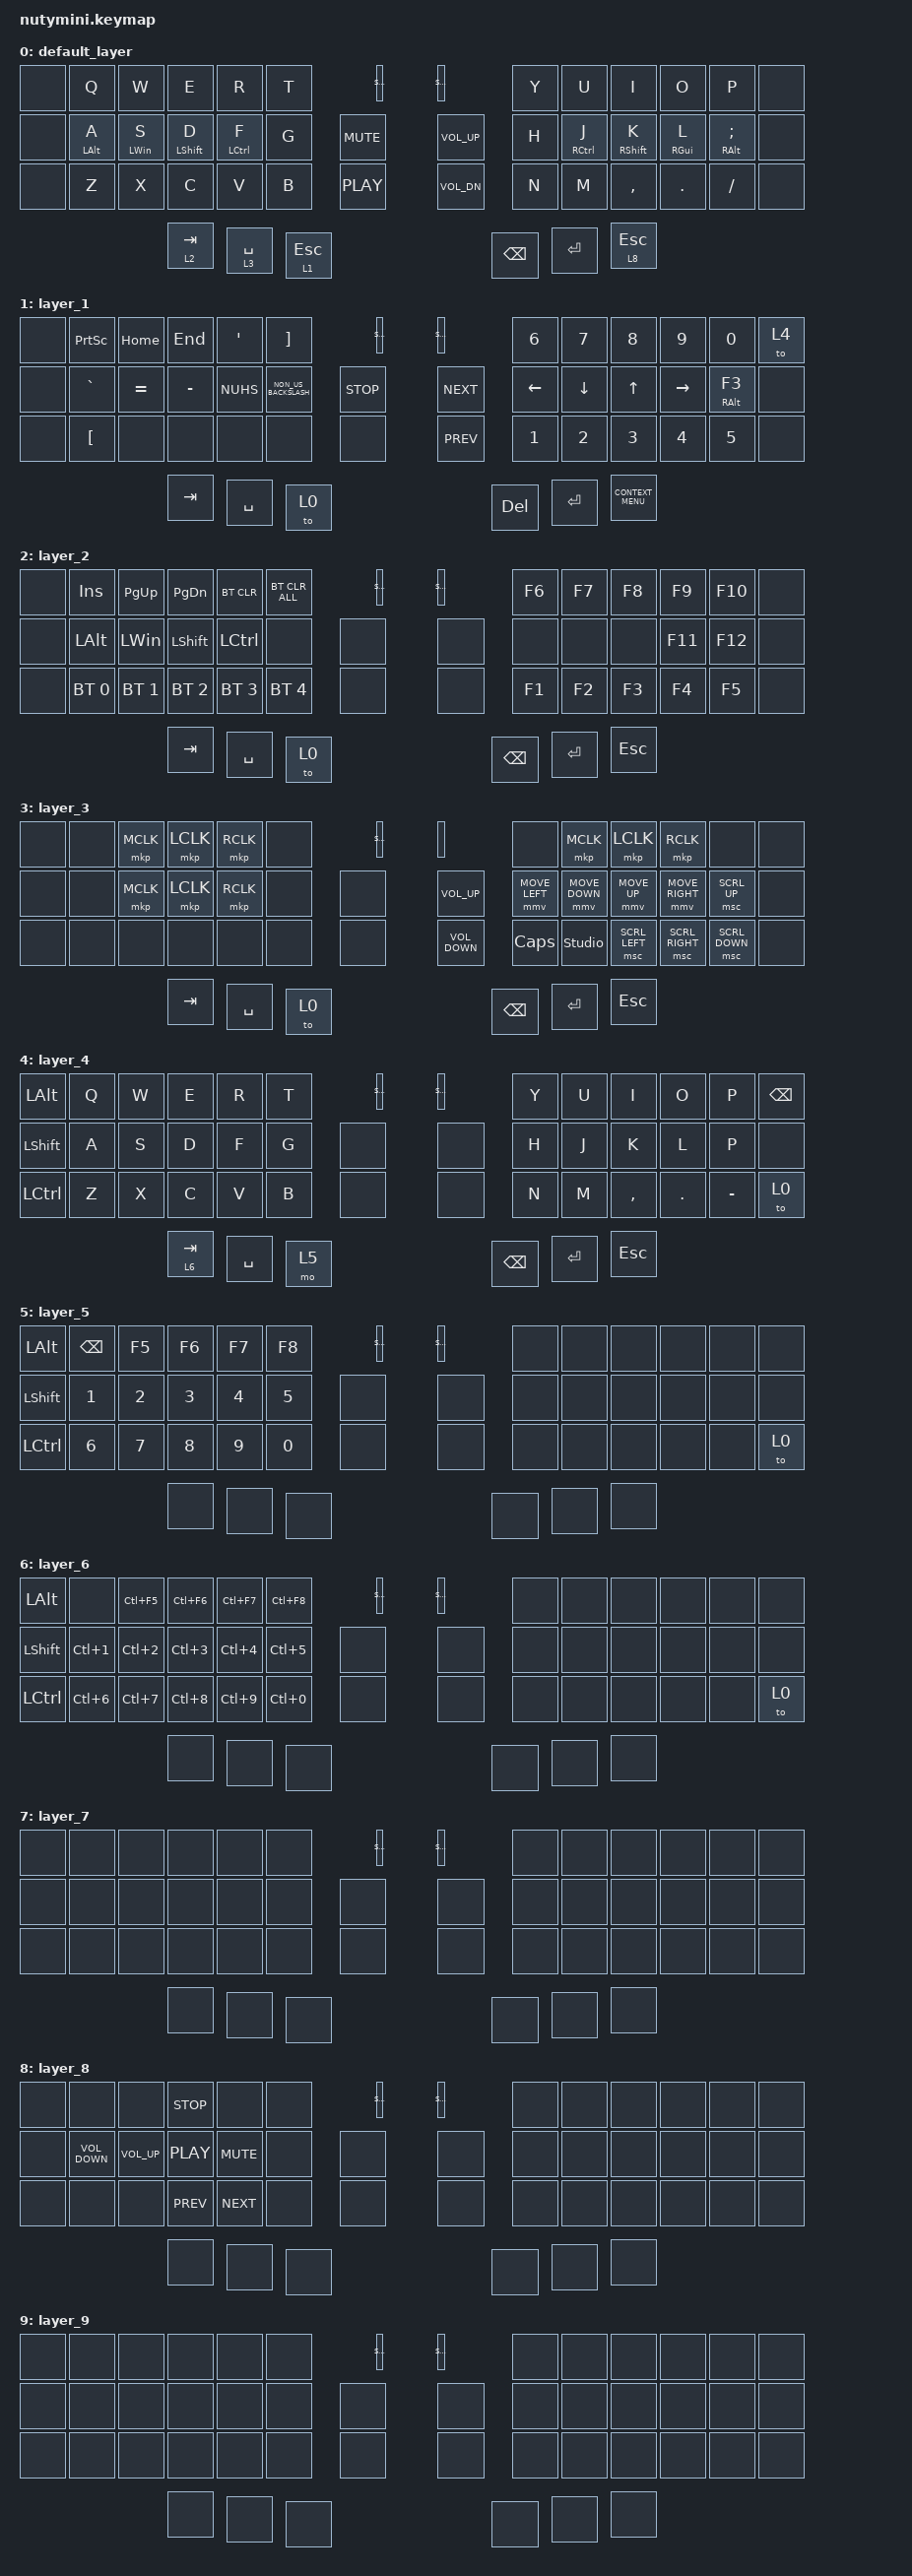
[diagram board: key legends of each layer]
/*
 * Copyright (c) 2020 The ZMK Contributors
 *
 * SPDX-License-Identifier: MIT
 */

#define ZMK_POINTING_DEFAULT_MOVE_VAL 1200 // default: 600
#define ZMK_POINTING_DEFAULT_SCRL_VAL 40  // default: 10

#include <behaviors.dtsi>
#include <dt-bindings/zmk/bt.h>
#include <dt-bindings/zmk/keys.h>
#include <dt-bindings/zmk/pointing.h>

&mmv { acceleration-exponent = <0>; };

/ {
    behaviors {
        hm: homerow_mods {
            compatible = "zmk,behavior-hold-tap";
            #binding-cells = <2>;
            tapping-term-ms = <150>;
            flavor = "tap-preferred";
            require-prior-idle-ms = <125>;
            bindings = <&kp>, <&kp>;
        };
    };

    keymap {
        compatible = "zmk,keymap";

        default_layer {
            bindings = <
&none      &kp Q           &kp W           &kp E             &kp R        &kp T           &kp Y           &kp U         &kp I              &kp O            &kp P               &none
&none      &hm LEFT_ALT A  &hm LEFT_WIN S  &hm LEFT_SHIFT D  &hm LCTRL F  &kp G           &kp H           &hm RCTRL J   &hm RIGHT_SHIFT K  &hm RIGHT_GUI L  &hm RIGHT_ALT SEMI  &none
&none      &kp Z           &kp X           &kp C             &kp V        &kp B           &kp N           &kp M         &kp COMMA          &kp DOT          &kp FSLH            &none
&lt 2 TAB  &lt 3 SPACE     &lt 1 ESCAPE    &kp C_PLAY        &kp C_MUTE   &studio_unlock  &studio_unlock  &kp C_VOL_UP  &kp C_VOL_DN       &kp BACKSPACE    &kp ENTER           &lt 8 ESCAPE
            >;
        };

        layer_1 {
            bindings = <
&none    &kp PRINTSCREEN   &kp HOME   &kp END    &kp APOS    &kp RBKT              &kp N6          &kp N7      &kp N8      &kp N9      &kp N0            &to 4
&none    &kp GRAVE         &kp EQUAL  &kp MINUS  &kp NUHS    &kp NON_US_BACKSLASH  &kp LEFT        &kp DOWN    &kp UP      &kp RIGHT   &hm RIGHT_ALT F3  &none
&none    &kp LEFT_BRACKET  &none      &none      &none       &none                 &kp N1          &kp N2      &kp N3      &kp N4      &kp N5            &none
&kp TAB  &kp SPACE         &to 0      &none      &kp C_STOP  &studio_unlock        &studio_unlock  &kp C_NEXT  &kp C_PREV  &kp DELETE  &kp ENTER         &kp K_CONTEXT_MENU
            >;
        };

        layer_2 {
            bindings = <
&none    &kp INSERT    &kp PG_UP     &kp PG_DN       &bt BT_CLR        &bt BT_CLR_ALL  &kp F6          &kp F7  &kp F8  &kp F9         &kp F10    &none
&none    &kp LEFT_ALT  &kp LEFT_WIN  &kp LEFT_SHIFT  &kp LEFT_CONTROL  &none           &none           &none   &none   &kp F11        &kp F12    &none
&none    &bt BT_SEL 0  &bt BT_SEL 1  &bt BT_SEL 2    &bt BT_SEL 3      &bt BT_SEL 4    &kp F1          &kp F2  &kp F3  &kp F4         &kp F5     &none
&kp TAB  &kp SPACE     &to 0         &none           &none             &studio_unlock  &studio_unlock  &none   &none   &kp BACKSPACE  &kp ENTER  &kp ESC
            >;
        };

        layer_3 {
            bindings = <
&none    &none      &mkp MCLK  &mkp LCLK  &mkp RCLK  &none           &none           &mkp MCLK        &mkp LCLK          &mkp RCLK        &none           &none
&none    &none      &mkp MCLK  &mkp LCLK  &mkp RCLK  &none           &mmv MOVE_LEFT  &mmv MOVE_DOWN   &mmv MOVE_UP       &mmv MOVE_RIGHT  &msc SCRL_UP    &none
&none    &none      &none      &none      &none      &none           &kp CAPSLOCK    &studio_unlock   &msc SCRL_LEFT     &msc SCRL_RIGHT  &msc SCRL_DOWN  &none
&kp TAB  &kp SPACE  &to 0      &none      &none      &studio_unlock  &none           &kp C_VOLUME_UP  &kp C_VOLUME_DOWN  &kp BACKSPACE    &kp ENTER       &kp ESC
            >;
        };

        layer_4 {
            bindings = <
&kp LEFT_ALT    &kp Q      &kp W  &kp E  &kp R  &kp T           &kp Y           &kp U  &kp I      &kp O          &kp P      &kp BACKSPACE
&kp LEFT_SHIFT  &kp A      &kp S  &kp D  &kp F  &kp G           &kp H           &kp J  &kp K      &kp L          &kp P      &none
&kp LCTRL       &kp Z      &kp X  &kp C  &kp V  &kp B           &kp N           &kp M  &kp COMMA  &kp PERIOD     &kp MINUS  &to 0
&lt 6 TAB       &kp SPACE  &mo 5  &none  &none  &studio_unlock  &studio_unlock  &none  &none      &kp BACKSPACE  &kp ENTER  &kp ESC
            >;
        };

        layer_5 {
            bindings = <
&kp LEFT_ALT    &kp BACKSPACE  &kp F5        &kp F6        &kp F7        &kp F8          &none           &none  &none  &none  &none  &none
&kp LEFT_SHIFT  &kp NUMBER_1   &kp NUMBER_2  &kp NUMBER_3  &kp NUMBER_4  &kp N5          &none           &none  &none  &none  &none  &none
&kp LCTRL       &kp NUMBER_6   &kp N7        &kp N8        &kp N9        &kp N0          &none           &none  &none  &none  &none  &to 0
&none           &none          &none         &none         &none         &studio_unlock  &studio_unlock  &none  &none  &none  &none  &none
            >;
        };

        layer_6 {
            bindings = <
&kp LEFT_ALT    &none             &kp LC(F5)        &kp LC(F6)        &kp LC(F7)        &kp LC(F8)      &none           &none  &none  &none  &none  &none
&kp LEFT_SHIFT  &kp LC(NUMBER_1)  &kp LC(NUMBER_2)  &kp LC(NUMBER_3)  &kp LC(NUMBER_4)  &kp LC(N5)      &none           &none  &none  &none  &none  &none
&kp LCTRL       &kp LC(NUMBER_6)  &kp LC(N7)        &kp LC(N8)        &kp LC(N9)        &kp LC(N0)      &none           &none  &none  &none  &none  &to 0
&none           &none             &none             &none             &none             &studio_unlock  &studio_unlock  &none  &none  &none  &none  &none
            >;
        };

        layer_7 {
            bindings = <
&none  &none  &none  &none  &none  &none           &none           &none  &none  &none  &none  &none
&none  &none  &none  &none  &none  &none           &none           &none  &none  &none  &none  &none
&none  &none  &none  &none  &none  &none           &none           &none  &none  &none  &none  &none
&none  &none  &none  &none  &none  &studio_unlock  &studio_unlock  &none  &none  &none  &none  &none
            >;
        };

        layer_8 {
            bindings = <
&none  &none              &none         &kp C_STOP  &none       &none           &none           &none  &none  &none  &none  &none
&none  &kp C_VOLUME_DOWN  &kp C_VOL_UP  &kp C_PLAY  &kp C_MUTE  &none           &none           &none  &none  &none  &none  &none
&none  &none              &none         &kp C_PREV  &kp C_NEXT  &none           &none           &none  &none  &none  &none  &none
&none  &none              &none         &none       &none       &studio_unlock  &studio_unlock  &none  &none  &none  &none  &none
            >;
        };

        layer_9 {
            bindings = <
&none  &none  &none  &none  &none  &none           &none           &none  &none  &none  &none  &none
&none  &none  &none  &none  &none  &none           &none           &none  &none  &none  &none  &none
&none  &none  &none  &none  &none  &none           &none           &none  &none  &none  &none  &none
&none  &none  &none  &none  &none  &studio_unlock  &studio_unlock  &none  &none  &none  &none  &none
            >;
        };
    };
};
